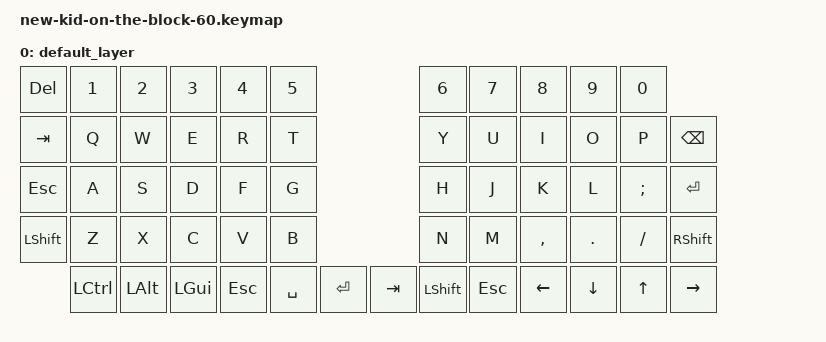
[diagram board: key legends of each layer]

#include <behaviors.dtsi>
#include <dt-bindings/zmk/keys.h>

/ {
  keymap {
    compatible = "zmk,keymap";

    default_layer {
      // ---------------------------------------------------------------------------------------
      // | DEL |  1  |  2  |  3  |  4  |  5  |             |  6  |  7  |  8  |  9  |  0  |
      // | TAB |  Q  |  W  |  E  |  R  |  T  |             |  Y  |  U  |  I  |  O  |  P  | BSPC|
      // | ESC |  A  |  S  |  D  |  F  |  G  |             |  H  |  J  |  K  |  L  |  ;  | RET |
      // | SHFT|  Z  |  X  |  C  |  V  |  B  |             |  N  |  M  |  ,  |  .  |  /  | SHFT|
      //       | CTRL| ALT | GUI | ESC | SPC | RET | | TAB | SHFT| ESC | LEFT| DOWN| UP  |RIGHT|
      // ---------------------------------------------------------------------------------------

      bindings = <
        &kp DEL     &kp N1      &kp N2      &kp N3      &kp N4      &kp N5                              &kp N6      &kp N7      &kp N8      &kp N9      &kp N0
        &kp TAB     &kp Q       &kp W       &kp E       &kp R       &kp T                               &kp Y       &kp U       &kp I       &kp O       &kp P       &kp BSPC
        &kp ESC     &kp A       &kp S       &kp D       &kp F       &kp G                               &kp H       &kp J       &kp K       &kp L       &kp SEMI    &kp RET
        &kp LSHFT   &kp Z       &kp X       &kp C       &kp V       &kp B                               &kp N       &kp M       &kp COMMA   &kp DOT     &kp FSLH    &kp RSHFT
                    &kp LCTRL   &kp LALT    &kp LGUI    &kp ESC     &kp SPACE   &kp RET      &kp TAB    &kp LSHIFT  &kp ESC     &kp LEFT    &kp DOWN    &kp UP      &kp RIGHT
      >;
    };
  };
};
